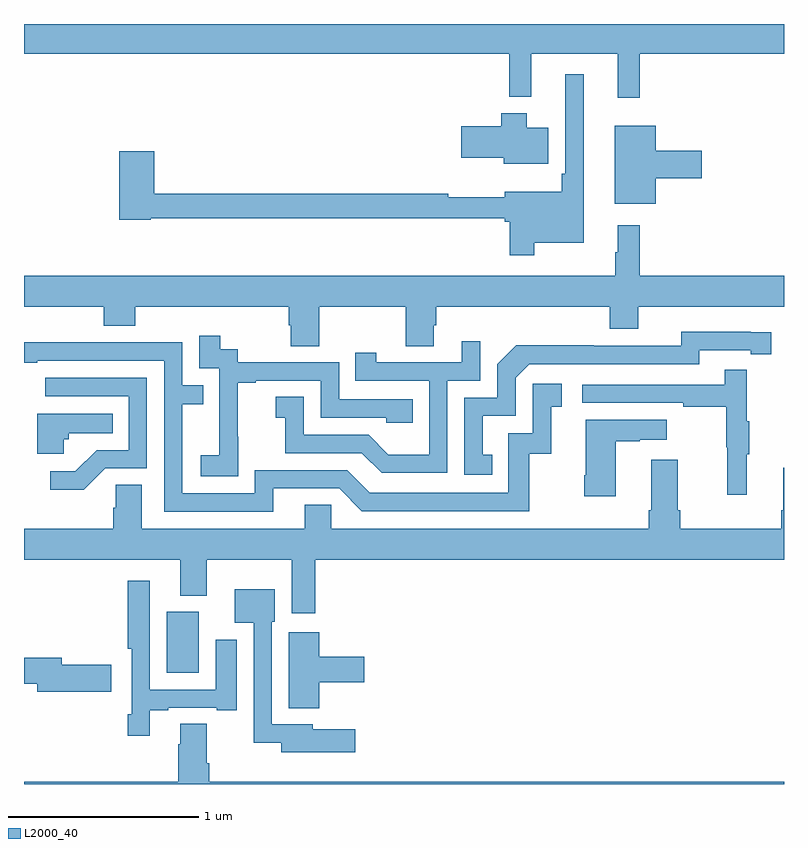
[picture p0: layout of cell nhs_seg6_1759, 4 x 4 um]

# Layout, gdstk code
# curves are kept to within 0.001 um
import gdstk
lib = gdstk.Library(unit=1e-6, precision=1e-09)
def R(c, l, rs):  # rectangles x0, y0, x1, y1
    for r in rs: c.add(gdstk.rectangle(r[:2], r[2:], *l))
def P(c, l, *ps):  # polygons
    for p in ps: c.add(gdstk.Polygon(p, *l))
L2000_40 = (2000, 40)

nhs_seg6_1759 = lib.new_cell('nhs_seg6_1759')
R(nhs_seg6_1759, L2000_40, [(217.751,936.086,217.921,936.406)])
P(nhs_seg6_1759, L2000_40, [(220.241,939.344),(221,939.344),(221,939.5),(217,939.5),(217,939.344),(219.553,939.344),(219.553,939.116),(219.671,939.116),(219.671,939.344),(220.124,939.344),(220.124,939.111),(220.241,939.111)],
  [(219.685,938.348),(219.946,938.348),(219.946,939.235),(219.849,939.235),(219.849,938.713),(219.829,938.713),(219.829,938.617),(219.53,938.617),(219.53,938.588),(219.234,938.588),(219.234,938.606),(217.685,938.606),(217.685,938.83),(217.502,938.83),(217.502,938.47),(217.668,938.47),(217.668,938.478),(219.53,938.478),(219.53,938.459),(219.556,938.459),(219.556,938.283),(219.685,938.283)],
  [(219.76,938.953),(219.646,938.953),(219.646,939.031),(219.512,939.031),(219.512,938.961),(219.3,938.961),(219.3,938.795),(219.524,938.795),(219.524,938.765),(219.76,938.765)],
  [(220.324,938.687),(220.567,938.687),(220.567,938.834),(220.324,938.834),(220.324,938.965),(220.109,938.965),(220.109,938.555),(220.324,938.555)],
  [(218.553,938.012),(219.01,938.012),(219.01,937.804),(219.157,937.804),(219.157,937.914),(219.17,937.914),(219.17,938.012),(220.082,938.012),(220.082,937.895),(220.234,937.895),(220.234,938.012),(221,938.012),(221,938.176),(220.241,938.176),(220.241,938.44),(220.124,938.44),(220.124,938.3),(220.113,938.3),(220.113,938.176),(217,938.176),(217,938.012),(217.421,938.012),(217.421,937.913),(217.586,937.913),(217.586,938.012),(218.393,938.012),(218.393,937.914),(218.405,937.914),(218.405,937.804),(218.553,937.804)],
  [(219.464,937.233),(219.415,937.233),(219.415,937.437),(219.588,937.437),(219.588,937.638),(219.66,937.71),(220.554,937.71),(220.554,937.782),(220.826,937.782),(220.826,937.762),(220.934,937.762),(220.934,937.878),(220.458,937.879),(220.458,937.806),(219.998,937.806),(219.998,937.808),(219.59,937.808),(219.492,937.71),(219.492,937.533),(219.318,937.533),(219.318,937.128),(219.464,937.128)],
  [(218.127,937.327),(218.126,937.327),(218.126,937.611),(218.221,937.611),(218.221,937.623),(218.562,937.623),(218.562,937.428),(218.907,937.428),(218.907,937.401),(219.047,937.401),(219.047,937.524),(218.658,937.524),(218.658,937.719),(218.124,937.719),(218.124,937.788),(218.032,937.788),(218.032,937.858),(217.923,937.858),(217.923,937.689),(218.028,937.689),(218.028,937.46),(218.027,937.46),(218.027,937.231),(217.929,937.231),(217.929,937.121),(218.127,937.121)],
  [(219.228,937.623),(219.402,937.623),(219.402,937.831),(219.305,937.831),(219.305,937.719),(218.854,937.719),(218.854,937.771),(218.743,937.771),(218.743,937.623),(219.132,937.623),(219.132,937.234),(218.918,937.234),(218.814,937.338),(218.472,937.338),(218.472,937.537),(218.325,937.537),(218.325,937.427),(218.374,937.427),(218.374,937.242),(218.777,937.242),(218.882,937.137),(219.228,937.137)],
  [(218.311,937.056),(218.658,937.056),(218.778,936.936),(219.658,936.936),(219.658,937.239),(219.776,937.239),(219.776,937.485),(219.829,937.485),(219.829,937.606),(219.678,937.606),(219.678,937.347),(219.549,937.347),(219.549,937.032),(218.82,937.032),(218.7,937.152),(218.214,937.152),(218.214,937.029),(217.833,937.029),(217.833,937.498),(217.943,937.498),(217.943,937.599),(217.833,937.599),(217.833,937.824),(217.337,937.824),(217.337,937.826),(217,937.826),(217,937.716),(217.069,937.716),(217.069,937.728),(217.737,937.728),(217.737,936.933),(218.311,936.933)],
  [(220.805,937.235),(220.816,937.235),(220.816,937.409),(220.805,937.409),(220.805,937.681),(220.687,937.681),(220.687,937.602),(219.939,937.602),(219.939,937.506),(220.471,937.506),(220.471,937.486),(220.695,937.486),(220.695,937.272),(220.702,937.272),(220.702,937.023),(220.805,937.023)],
  [(217.428,937.161),(217.647,937.161),(217.647,937.638),(217.113,937.638),(217.113,937.542),(217.551,937.542),(217.551,937.257),(217.382,937.257),(217.271,937.146),(217.137,937.146),(217.137,937.049),(217.315,937.049)],
  [(217.209,937.314),(217.236,937.314),(217.236,937.346),(217.466,937.346),(217.466,937.45),(217.07,937.45),(217.07,937.238),(217.209,937.238)],
  [(220.114,937.303),(220.241,937.303),(220.241,937.313),(220.384,937.313),(220.384,937.417),(219.956,937.417),(219.956,937.126),(219.949,937.126),(219.949,937.014),(220.114,937.014)],
  [(218.534,936.68),(221,936.68),(221,937.165),(220.997,937.165),(220.997,936.94),(220.985,936.94),(220.985,936.844),(220.454,936.844),(220.454,936.94),(220.441,936.94),(220.441,937.207),(220.301,937.207),(220.301,936.94),(220.289,936.94),(220.289,936.844),(218.616,936.844),(218.616,936.971),(218.477,936.971),(218.477,936.844),(217.621,936.844),(217.621,937.076),(217.482,937.076),(217.482,936.953),(217.469,936.953),(217.469,936.844),(217,936.844),(217,936.68),(217.823,936.68),(217.823,936.491),(217.963,936.491),(217.963,936.68),(218.408,936.68),(218.408,936.399),(218.534,936.399)],
  [(217.663,935.889),(217.759,935.889),(217.759,935.901),(218.015,935.901),(218.015,935.889),(218.119,935.889),(218.119,936.259),(218.009,936.259),(218.009,935.997),(217.662,935.997),(217.662,936.571),(217.546,936.571),(217.546,936.211),(217.566,936.211),(217.566,935.866),(217.546,935.866),(217.546,935.754),(217.663,935.754)],
  [(218.743,935.788),(218.52,935.788),(218.52,935.814),(218.304,935.814),(218.304,936.354),(218.32,936.354),(218.32,936.526),(218.108,936.526),(218.108,936.35),(218.208,936.35),(218.208,935.717),(218.354,935.717),(218.354,935.666),(218.743,935.666)],
  [(218.555,936.035),(218.791,936.035),(218.791,936.17),(218.555,936.17),(218.555,936.298),(218.393,936.298),(218.393,935.899),(218.555,935.899)],
  [(217.459,936.128),(217.198,936.128),(217.198,936.164),(217,936.164),(217,936.028),(217.07,936.028),(217.07,935.986),(217.459,935.986)],
  [(217.976,935.608),(217.963,935.608),(217.963,935.816),(217.823,935.816),(217.823,935.708),(217.811,935.708),(217.811,935.512),(217,935.512),(217,935.5),(221,935.5),(221,935.512),(217.976,935.512)])

lib.write_gds('nhs_seg6_1759.gds')
